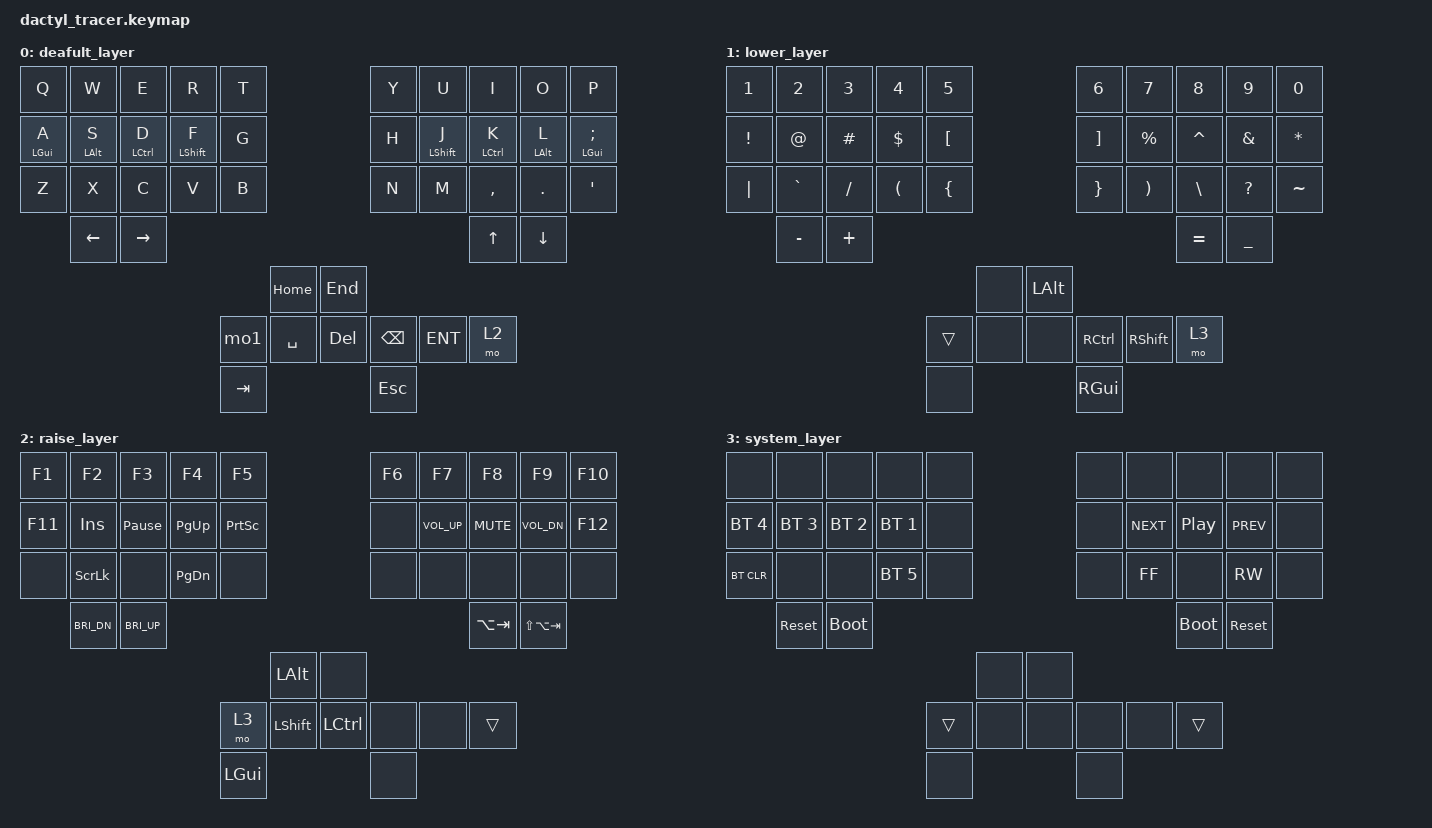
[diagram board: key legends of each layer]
/*
 * Copyright (c) 2023 Michael Johns
 *
 * SPDX-License-Identifier: MIT
 */

#include <behaviors.dtsi>
#include <dt-bindings/zmk/keys.h>
#include <dt-bindings/zmk/bt.h>

/ {
        keymap {
                compatible = "zmk,keymap";

                deafult_layer {
//  ----- ----- ----- ----- -----                 ----- ----- ----- ----- -----
// |  Q  |  W  |  E  |  R  |  T  |               |  Y  |  U  |  I  |  O  |  P  |
//  ----- ----- ----- ----- -----                 ----- ----- ----- ----- -----
// | A(g)| S(a)| D(c)| F(s)|  G  |               |  H  | J(s)| K(c)| L(a)| ;(g)|
//  ----- ----- ----- ----- -----                 ----- ----- ----- ----- -----
// |  Z  |  X  |  C  |  V  |  B  |               |  N  |  M  |  ,  |  .  |  '  |
//  ----- ----- ----- ----- -----                 ----- ----- ----- ----- -----
//       |  ←  |  →  |                                       |  ↑  |  ↓  |
//        ----- -----             -----     -----             ----- -----
//                               | HOM |   | END |
//                    ----- ----- -----     ----- ----- -----
//                   | mo1 | SPC | DEL |   | BSP | ENT | mo2 |
//                    ----- ----- -----     ----- ----- -----
//                            | TAB |         | ESC |
//                             -----           -----
                        bindings = <
   &kp Q      &kp W      &kp E       &kp R       &kp T                          &kp Y   &kp U       &kp I       &kp O      &kp P
   &mt LGUI A &mt LALT S &mt LCTRL D &mt LSHFT F &kp G                          &kp H   &mt LSHFT J &mt LCTRL K &mt LALT L &mt LGUI SEMI
   &kp Z      &kp X      &kp C       &kp V       &kp B                          &kp N   &kp M       &kp COMMA   &kp DOT    &kp SQT
              &kp LEFT   &kp RIGHT                                                                  &kp UP      &kp DOWN
                                                           &kp HOME    &kp END
                                            &mo1 &kp SPACE &kp DEL     &kp BSPC &kp ENT &mo 2
                                                 &kp TAB                        &kp ESC
                        >;
                };

                lower_layer {
//  ----- ----- ----- ----- -----                 ----- ----- ----- ----- -----
// |  1  |  2  |  3  |  4  |  5  |               |  6  |  7  |  8  |  9  |  0  |
//  ----- ----- ----- ----- -----                 ----- ----- ----- ----- -----
// |  !  |  @  |  #  |  $  |  [  |               |  ]  |  %  |  ^  |  &  |  *  |
//  ----- ----- ----- ----- -----                 ----- ----- ----- ----- -----
// | "|" |  `  |  \  |  (  |  {  |               |  }  |  )  |  /  |  ?  |  ~  |
//  ----- ----- ----- ----- -----                 ----- ----- ----- ----- -----
//       |  -  |  +  |                                       |  =  |  _  |
//        ----- -----             -----     -----             ----- -----
//                               |     |   | ALT |
//                    ----- ----- -----     ----- ----- -----
//                   |  ◌  |     |     |   | CTL | SFT | mo3 |
//                    ----- ----- -----     ----- ----- -----
//                            |     |         | GUI |
//                             -----           -----
                        bindings = <
   &kp N1   &kp N2    &kp N3   &kp N4   &kp N5                      &kp N6    &kp N7    &kp N8    &kp N9    &kp N0
   &kp EXCL &kp AT    &kp HASH &kp DLLR &kp LBKT                    &kp RBKT  &kp PRCNT &kp CARET &kp AMPS  &kp STAR
   &kp PIPE &kp GRAVE &kp FSLH &kp LPAR &kp LBRC                    &kp RBRC  &kp RPAR  &kp BSLH  &kp QMARK &kp TILDE
            &kp MINUS &kp PLUS                                                          &kp EQUAL &kp UNDER
                                                 &none    &kp LALT
                                    &trans &none &none    &kp RCTRL &kp RSHFT &mo 3
                                           &none                    &kp RGUI
                        >;
                };

                raise_layer {
//  ----- ----- ----- ----- -----                 ----- ----- ----- ----- -----
// | F1  | F2  | F3  | F4  | F5  |               | F6  | F7  | F8  | F9  | F10 |
//  ----- ----- ----- ----- -----                 ----- ----- ----- ----- -----
// | F11 | INS | BRK | PG↑ | PSC |               |     | VL+ | VLm | VL- | F12 |
//  ----- ----- ----- ----- -----                 ----- ----- ----- ----- -----
// |     | SLK |     | PG↓ |     |               |     |     |     |     |     |
//  ----- ----- ----- ----- -----                 ----- ----- ----- ----- -----
//       | BR- | BR+ |                                       |a+TB |sa+TB|
//        ----- -----             -----     -----             ----- -----
//                               | ALT |   |     |
//                    ----- ----- -----     ----- ----- -----
//                   | mo3 | SFT | CTL |   |     |     |  ◌  |
//                    ----- ----- -----     ----- ----- -----
//                            | GUI |         |     |
//                             -----           -----
                        bindings = <
   &kp F1  &kp F2       &kp F3          &kp F4    &kp F5                       &kp F6 &kp F7       &kp F8      &kp F9       &kp F10
   &kp F11 &kp INS      &kp PAUSE_BREAK &kp PG_UP &kp PSCRN                    &none  &kp C_VOL_UP &kp C_MUTE  &kp C_VOL_DN &kp F12
   &none   &kp SLCK     &none           &kp PG_DN &none                        &none  &none        &none       &none        &none
           &kp C_BRI_DN &kp C_BRI_UP                                                               &kp LA(TAB) &kp LS(LA(TAB))
                                                            &kp LALT     &none
                                            &mo 3 &kp LSHFT &kp LCTRL    &none &none &trans
                                                  &kp LGUI                     &none
                        >;
                };

                system_layer {
//  ----- ----- ----- ----- -----                 ----- ----- ----- ----- -----
// |     |     |     |     |     |               |     |     |     |     |     |
//  ----- ----- ----- ----- -----                 ----- ----- ----- ----- -----
// | BT4 | BT3 | BT2 | BT1 |     |               |     | mNT | mPP | mPV |     |
//  ----- ----- ----- ----- -----                 ----- ----- ----- ----- -----
// | BTC |     |     | BT5 |     |               |     | mFF |     | mRW |     |
//  ----- ----- ----- ----- -----                 ----- ----- ----- ----- -----
//       | RST | BLR |                                       | BLR | RST |
//        ----- -----             -----     -----             ----- -----
//                               |     |   |     |
//                    ----- ----- -----     ----- ----- -----
//                   |  ◌  |     |     |   |     |     |  ◌  |
//                    ----- ----- -----     ----- ----- -----
//                            |     |         |     |
//                             -----           -----
                        bindings = <
   &none        &none        &none        &none        &none                &none &none      &none       &none      &none
   &bt BT_SEL 4 &bt BT_SEL 3 &bt BT_SEL 2 &bt BT_SEL 1 &none                &none &kp C_NEXT &kp C_PP    &kp C_PREV &none
   &bt BT_CLR   &none        &none        &bt BT_SEL 5 &none                &none &kp C_FF   &none       &kp C_RW   &none
                &sys_reset   &bootloader                                                     &bootloader &sys_reset
                                                             &none    &none
                                                &trans &none &none    &none &none &trans
                                                       &none                &none
                        >;
                };
        };
};
